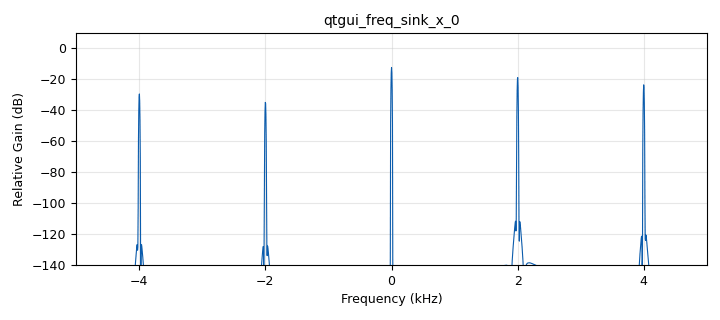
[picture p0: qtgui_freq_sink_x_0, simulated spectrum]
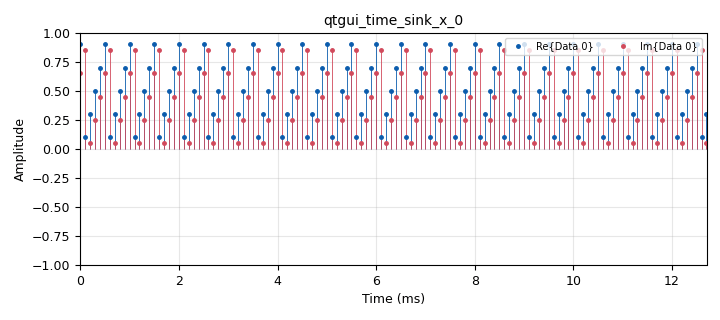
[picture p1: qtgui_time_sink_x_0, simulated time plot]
options:
  parameters:
    author: Josman_Rico_Julian_Romero_B1C_G5
    generate_options: qt_gui
    id: Lab1_punto2
    output_language: python
    title: Lab1_punto2_Muestreo
  states: {}

blocks:
- name: freq
  id: variable_qtgui_range
  parameters:
    label: frequency
    start: '1000'
    step: '1000'
    stop: '40000'
    value: '2000'
  states: {}
- name: samp_rate
  id: variable_qtgui_range
  parameters:
    label: freq_muestreo
    start: '1000'
    step: '1000'
    stop: '80000'
    value: '10000'
  states: {}
- name: samp_rate
  id: variable
  parameters:
    value: '32000'
  states: {state: disabled}
- name: analog_sig_source_x_0
  id: analog_sig_source_x
  parameters:
    amp: '1'
    freq: freq
    offset: '0'
    phase: '0'
    samp_rate: samp_rate
    type: complex
    waveform: analog.GR_SAW_WAVE
  states: {}
- name: blocks_throttle2_0
  id: blocks_throttle2
  parameters:
    samples_per_second: samp_rate
    type: complex
  states: {}
- name: qtgui_freq_sink_x_0
  id: qtgui_freq_sink_x
  parameters:
    bw: samp_rate
    fc: '0'
    fftsize: '2048'
    type: complex
  states: {}
- name: qtgui_time_sink_x_0
  id: qtgui_time_sink_x
  parameters:
    size: '128'
    srate: samp_rate
    stemplot: 'True'
    type: complex
  states: {}

connections:
- [analog_sig_source_x_0, '0', blocks_throttle2_0, '0']
- [blocks_throttle2_0, '0', qtgui_freq_sink_x_0, '0']
- [blocks_throttle2_0, '0', qtgui_time_sink_x_0, '0']

metadata:
  file_format: 1
  grc_version: 3.10.7.0
